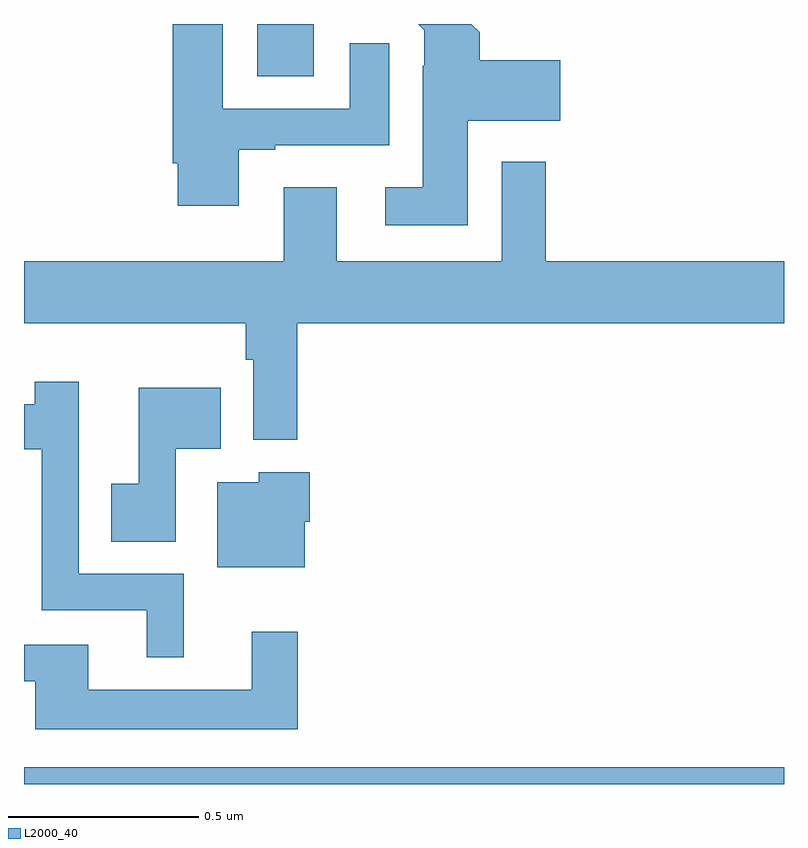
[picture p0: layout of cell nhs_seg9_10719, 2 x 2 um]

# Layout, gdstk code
import gdstk
lib = gdstk.Library(unit=1e-6, precision=1e-09)
def R(c, l, rs):  # rectangles x0, y0, x1, y1
    for r in rs: c.add(gdstk.rectangle(r[:2], r[2:], *l))
def P(c, l, *ps):  # polygons
    for p in ps: c.add(gdstk.Polygon(p, *l))
L2000_40 = (2000, 40)

nhs_seg9_10719 = lib.new_cell('nhs_seg9_10719')
R(nhs_seg9_10719, L2000_40, [(246,1236.5,248,1236.544), (246.614,1238.362,246.763,1238.5)])
P(nhs_seg9_10719, L2000_40, [(247.168,1238.246),(247.411,1238.246),(247.411,1238.404),(247.199,1238.404),(247.199,1238.478),(247.177,1238.5),(247.037,1238.5),(247.053,1238.484),(247.053,1238.39),(247.049,1238.39),(247.049,1238.071),(246.951,1238.071),(246.951,1237.97),(247.168,1237.97)],
  [(246.565,1238.169),(246.661,1238.169),(246.661,1238.181),(246.961,1238.181),(246.961,1238.449),(246.857,1238.449),(246.857,1238.277),(246.523,1238.277),(246.523,1238.5),(246.392,1238.5),(246.392,1238.134),(246.404,1238.134),(246.404,1238.022),(246.565,1238.022)],
  [(246.719,1237.712),(248,1237.712),(248,1237.876),(247.373,1237.876),(247.373,1238.137),(247.257,1238.137),(247.257,1237.876),(246.823,1237.876),(246.823,1238.071),(246.683,1238.071),(246.683,1237.876),(246,1237.876),(246,1237.712),(246.583,1237.712),(246.583,1237.616),(246.603,1237.616),(246.603,1237.406),(246.719,1237.406)],
  [(246.421,1237.053),(246.144,1237.053),(246.144,1237.558),(246.028,1237.558),(246.028,1237.499),(246,1237.499),(246,1237.381),(246.047,1237.381),(246.047,1236.957),(246.323,1236.957),(246.323,1236.833),(246.421,1236.833)],
  [(246.399,1237.382),(246.518,1237.382),(246.518,1237.543),(246.302,1237.543),(246.302,1237.29),(246.229,1237.29),(246.229,1237.138),(246.399,1237.138)],
  [(246.739,1237.19),(246.752,1237.19),(246.752,1237.321),(246.618,1237.321),(246.618,1237.294),(246.509,1237.294),(246.509,1237.07),(246.739,1237.07)],
  [(246.721,1236.901),(246.599,1236.901),(246.599,1236.748),(246.169,1236.748),(246.169,1236.867),(246,1236.867),(246,1236.771),(246.029,1236.771),(246.029,1236.644),(246.721,1236.644)])

lib.write_gds('nhs_seg9_10719.gds')
